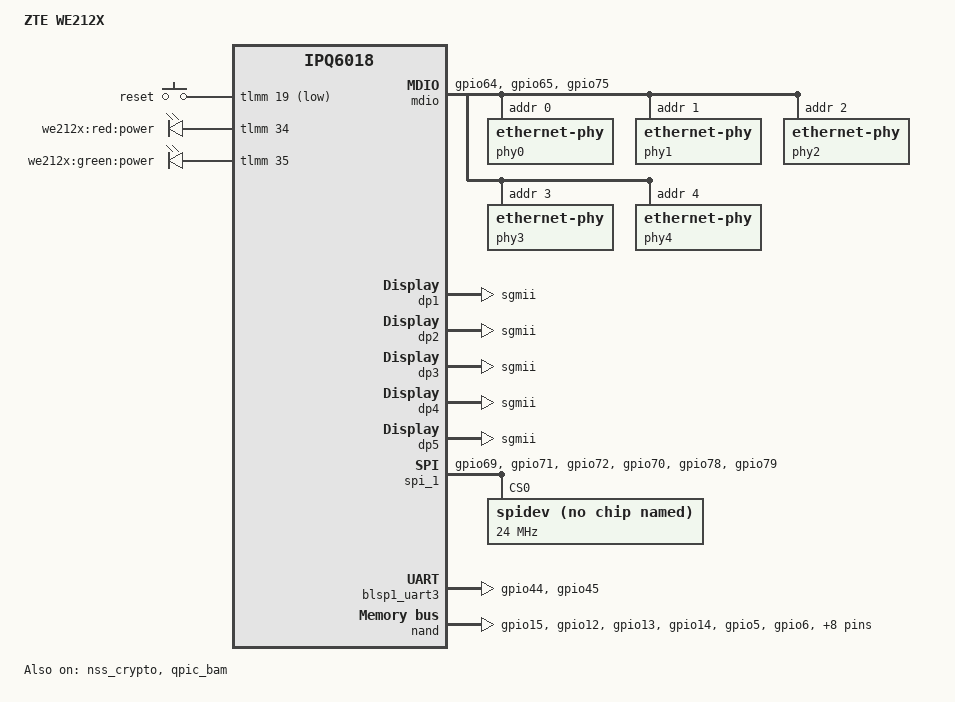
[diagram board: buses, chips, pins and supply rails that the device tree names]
// SPDX-License-Identifier: GPL-2.0-or-later OR MIT
// Copyright (c) 2024

/dts-v1/;

#include "qcom-ipq6018.dtsi"
#include "qcom-ipq6000-cpu-opp.dtsi"
#include <dt-bindings/input/input.h>
#include <dt-bindings/gpio/gpio.h>

/ {
	#address-cells = <0x2>;
	#size-cells = <0x2>;
	interrupt-parent = <&intc>;
	qcom,msm-id = <0x192 0x0>;

	model = "ZTE WE212X";
	compatible = "zte,we212x", "qcom,ipq6018";

	aliases {
		serial0 = &blsp1_uart3;
		led-boot = &led_red;
		led-failsafe = &led_red;
		led-running = &led_green;
		led-upgrade = &led_red;
		
		/* WE212X port mapping from reverse-engineered DTS */
		ethernet0 = "/soc/dp5";  /* WAN port */
		ethernet1 = "/soc/dp4";  /* LAN port 1 */
		ethernet2 = "/soc/dp3";  /* LAN port 2 */
		ethernet3 = "/soc/dp2";  /* LAN port 3 */
		ethernet4 = "/soc/dp1";  /* LAN port 4 */
	};

	chosen {
		bootargs-append = " root=/dev/ubiblock0_1 swiotlb=1 coherent_pool=2M";
	};

	soc {
		mdio: mdio@90000 {
			pinctrl-0 = <&mdio_pins>;
			pinctrl-names = "default";
			phy-reset-gpio = <&tlmm 75 0>;
			status = "ok";

			phy0: ethernet-phy@0 {
				reg = <0>;
			};
			phy1: ethernet-phy@1 {
				reg = <1>;
			};
			phy2: ethernet-phy@2 {
				reg = <2>;
			};
			phy3: ethernet-phy@3 {
				reg = <3>;
			};
			phy4: ethernet-phy@4 {
				reg = <4>;
			};
		};

		ess-switch@3a000000 {
			switch_cpu_bmp = <0x1>;  /* cpu port bitmap */
			switch_lan_bmp = <0x1e>; /* lan port bitmap - ports 1,2,3,4 */
			switch_wan_bmp = <0x20>; /* wan port bitmap - port 5 */
			switch_inner_bmp = <0xc0>; /* inner port bitmap */
			switch_mac_mode = <0x0>; /* mac mode for uniphy 0 */
			switch_mac_mode1 = <0xff>; /* mac mode for uniphy 1 */
			switch_mac_mode2 = <0xff>; /* mac mode for uniphy 2 */

			qcom,port_phyinfo {
				port@0 {
					port_id = <1>;
					phy_address = <0>;
				};
				port@1 {
					port_id = <2>;
					phy_address = <1>;
				};
				port@2 {
					port_id = <3>;
					phy_address = <2>;
				};
				port@3 {
					port_id = <4>;
					phy_address = <3>;
				};
				port@4 {
					port_id = <5>;
					phy_address = <4>;
				};
			};
		};

		/* Network ports based on reverse-engineered DTS */
		dp1 {
			device_type = "network";
			compatible = "qcom,nss-dp";
			qcom,id = <1>;
			reg = <0x3a001000 0x200>;
			qcom,mactype = <0>;
			local-mac-address = [000000000000];
			qcom,link-poll = <1>;
			qcom,phy-mdio-addr = <0>;
			phy-mode = "sgmii";
		};

		dp2 {
			device_type = "network";
			compatible = "qcom,nss-dp";
			qcom,id = <2>;
			reg = <0x3a001200 0x200>;
			qcom,mactype = <0>;
			local-mac-address = [000000000000];
			qcom,link-poll = <1>;
			qcom,phy-mdio-addr = <1>;
			phy-mode = "sgmii";
		};

		dp3 {
			device_type = "network";
			compatible = "qcom,nss-dp";
			qcom,id = <3>;
			reg = <0x3a001400 0x200>;
			qcom,mactype = <0>;
			local-mac-address = [000000000000];
			qcom,link-poll = <1>;
			qcom,phy-mdio-addr = <2>;
			phy-mode = "sgmii";
		};

		dp4 {
			device_type = "network";
			compatible = "qcom,nss-dp";
			qcom,id = <4>;
			reg = <0x3a001600 0x200>;
			qcom,mactype = <0>;
			local-mac-address = [000000000000];
			qcom,link-poll = <1>;
			qcom,phy-mdio-addr = <3>;
			phy-mode = "sgmii";
		};

		dp5 {
			device_type = "network";
			compatible = "qcom,nss-dp";
			qcom,id = <5>;
			reg = <0x3a001800 0x200>;
			qcom,mactype = <0>;
			local-mac-address = [000000000000];
			qcom,link-poll = <1>;
			qcom,phy-mdio-addr = <4>;
			phy-mode = "sgmii";
		};

		spi_1: spi@78b6000 {
			compatible = "qcom,spi-qup-v2.2.1";
			#address-cells = <1>;
			#size-cells = <0>;
			reg = <0x78b6000 0x600>;
			interrupts = <GIC_SPI 96 IRQ_TYPE_LEVEL_HIGH>;
			spi-max-frequency = <50000000>;
			clocks = <&gcc GCC_BLSP1_QUP2_SPI_APPS_CLK>,
				 <&gcc GCC_BLSP1_AHB_CLK>;
			clock-names = "core", "iface";
			dmas = <&blsp_dma 14>, <&blsp_dma 15>;
			dma-names = "tx", "rx";
			status = "disabled";
		};
	};

	keys {
		compatible = "gpio-keys";
		pinctrl-0 = <&button_pins>;
		pinctrl-names = "default";

		reset {
			label = "reset";
			linux,code = <KEY_RESTART>;
			gpios = <&tlmm 19 GPIO_ACTIVE_LOW>;
			linux,input-type = <1>;
			debounce-interval = <60>;
		};
	};

	leds {
		compatible = "gpio-leds";
		pinctrl-0 = <&leds_pins>;
		pinctrl-names = "default";

		led_red: power_red {
			label = "we212x:red:power";
			gpios = <&tlmm 34 GPIO_ACTIVE_HIGH>;
		};

		led_green: power_green {
			label = "we212x:green:power";
			gpios = <&tlmm 35 GPIO_ACTIVE_HIGH>;
		};
	};
};

&tlmm {
	uart_pins: uart_pins {
		mux {
			pins = "gpio44", "gpio45";
			function = "blsp2_uart";
			drive-strength = <8>;
			bias-pull-down;
		};
	};

	spi_1_pins: spi_1_pins {
		mux {
			pins = "gpio69", "gpio71", "gpio72";
			function = "blsp1_spi";
			drive-strength = <8>;
			bias-pull-down;
		};

		spi_cs {
			pins = "gpio70";
			function = "blsp1_spi";
			drive-strength = <8>;
			bias-disable;
		};

		quartz_interrupt {
			pins = "gpio78";
			function = "gpio";
			input;
			bias-disable;
		};

		quartz_reset {
			pins = "gpio79";
			function = "gpio";
			drive-strength = <8>;
			bias-disable;
		};
	};

	qpic_pins: qpic_pins {
		data_0 {
			pins = "gpio15";
			function = "qpic_pad0";
			drive-strength = <8>;
			bias-pull-down;
		};
		data_1 {
			pins = "gpio12";
			function = "qpic_pad1";
			drive-strength = <8>;
			bias-pull-down;
		};
		data_2 {
			pins = "gpio13";
			function = "qpic_pad2";
			drive-strength = <8>;
			bias-pull-down;
		};
		data_3 {
			pins = "gpio14";
			function = "qpic_pad3";
			drive-strength = <8>;
			bias-pull-down;
		};
		data_4 {
			pins = "gpio5";
			function = "qpic_pad4";
			drive-strength = <8>;
			bias-pull-down;
		};
		data_5 {
			pins = "gpio6";
			function = "qpic_pad5";
			drive-strength = <8>;
			bias-pull-down;
		};
		data_6 {
			pins = "gpio7";
			function = "qpic_pad6";
			drive-strength = <8>;
			bias-pull-down;
		};
		data_7 {
			pins = "gpio8";
			function = "qpic_pad7";
			drive-strength = <8>;
			bias-pull-down;
		};
		qpic_pad {
			pins = "gpio1", "gpio3", "gpio4",
			       "gpio10", "gpio11", "gpio17";
			function = "qpic_pad";
			drive-strength = <8>;
			bias-pull-down;
		};
	};

	button_pins: button_pins {
		reset_button {
			pins = "gpio19";
			function = "gpio";
			drive-strength = <8>;
			bias-pull-up;
		};
	};

	mdio_pins: mdio_pinmux {
		mux_0 {
			pins = "gpio64";
			function = "mdc";
			drive-strength = <8>;
			bias-pull-up;
		};

		mux_1 {
			pins = "gpio65";
			function = "mdio";
			drive-strength = <8>;
			bias-pull-up;
		};

		mux_2 {
			pins = "gpio75";
			function = "gpio";
			bias-pull-up;
		};
	};

	leds_pins: leds_pins {
		mux {
			pins = "gpio34", "gpio35";
			function = "gpio";
			drive-strength = <8>;
			bias-pull-down;
		};
	};
};

&blsp1_uart3 {
	pinctrl-0 = <&uart_pins>;
	pinctrl-names = "default";
	status = "ok";
};

&spi_0 {
	status = "disabled";
};

&spi_1 {
	pinctrl-0 = <&spi_1_pins>;
	pinctrl-names = "default";
	cs-select = <0>;
	status = "ok";
	quartz-reset-gpio = <&tlmm 79 GPIO_ACTIVE_HIGH>;

	spidev@0 {
		compatible = "qca,spidev";
		reg = <0>;
		spi-max-frequency = <24000000>;
	};
};

&nand {
	pinctrl-0 = <&qpic_pins>;
	pinctrl-names = "default";
	status = "ok";
};

&nss_crypto {
	status = "ok";
};

&qpic_bam {
	status = "ok";
};


